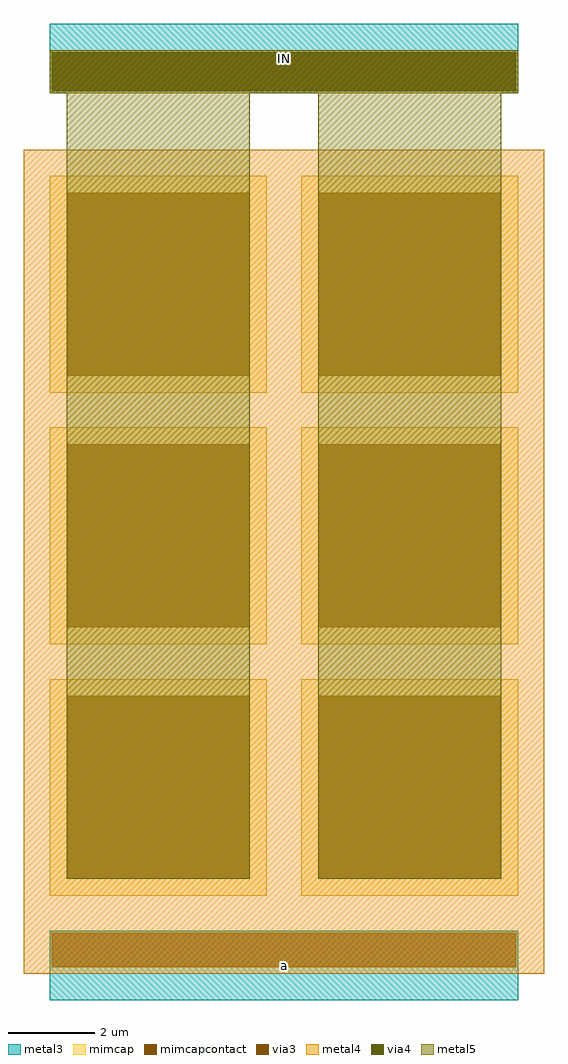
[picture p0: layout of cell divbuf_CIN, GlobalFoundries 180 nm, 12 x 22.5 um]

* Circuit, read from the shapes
.subckt divbuf_CIN IN a
XC1 IN a cap_mim_2f0fF c_width=5u c_length=5u m=6
.ends

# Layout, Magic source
magic
tech gf180mcuD
magscale 1 10
<< metal3 >>
rect 0 -340 2160 -160
rect 0 3700 2160 3900
rect 0 3700 2160 4020
rect 0 3700 2160 4020
rect 0 -480 2160 -160
rect 0 -480 2160 -160
<< metal4 >>
rect -120 -360 2280 3440
rect 0 -340 2160 -160
rect 0 3700 2160 3900
rect 0 3700 2160 3900
<< mimcap >>
rect 0 0 1000 1000
rect 1160 0 2160 1000
rect 0 1160 1000 2160
rect 1160 1160 2160 2160
rect 0 2320 1000 3320
rect 1160 2320 2160 3320
<< metal5 >>
rect 78 78 922 3800
rect 1238 78 2082 3800
rect 0 3700 2160 3900
rect 0 3700 2160 3900
<< via3 >>
rect 10 -330 2150 -170
rect 10 3710 2150 3890
<< via4 >>
rect 10 3710 2150 3890
<< mimcapcontact >>
rect 78 78 922 922
rect 1238 78 2082 922
rect 78 1238 922 2082
rect 1238 1238 2082 2082
rect 78 2398 922 3242
rect 1238 2398 2082 3242
<< labels >>
flabel metal3 s 0 3700 2160 4020 0 FreeSans 80 0 0 0 IN
port 1 nsew signal bidirectional
flabel metal3 s 0 -480 2160 -160 0 FreeSans 80 0 0 0 a
port 2 nsew signal bidirectional
<< end >>
